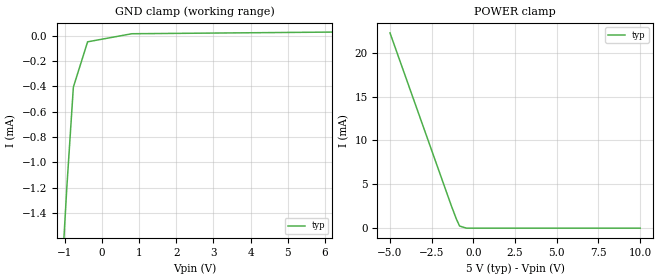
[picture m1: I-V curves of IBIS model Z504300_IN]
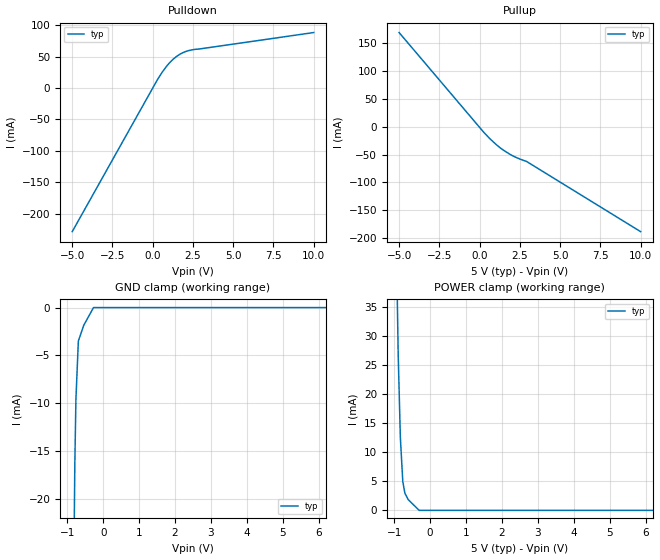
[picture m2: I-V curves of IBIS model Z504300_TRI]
| YOU ARE ONLY AUTHORIZED TO USE THIS SOFTWARE
| ACCORDING TO LICENSOR'S LICENSE RESTRICTIONS.
[IBIS Ver] 3.1
[File Name] mc54hct573aj.ibs
[File Rev] 2.0
[Source] Measured and created by ICX Technology
[Date] Friday 7/14/00 9:08:11 AM
[Copyright]
| (C) COPYRIGHT 1993-2000
| MENTOR GRAPHICS CORPORATION
| ICX STANDARD LIBRARY, ICX PROJECT MODELING,
| ICX CUSTOM MODELING, ICX VENDOR MODEL
| ALL RIGHTS RESERVED.
| THE FOLLOWING ARE TRADEMARKS OR SERVICE MARKS OF
| MENTOR GRAPHICS CORPORATION:ICX (R), ICX STANDARD
| LIBRARY(R), ICX PROJECT MODELING(R), ICX CUSTOM
| MODELING(R), qualityIBIS(TM), MODELVIEWER(TM),
| AND MODELEDITOR(TM)
| ALL COPIES OF SOFTWARE, INCLUDING BUT NOT LIMITED TO
| ANY MODIFICATIONS, ENHANCEMENTS OR DERIVATIVE WORKS,
| MUST CONTAIN ALL MENTOR GRAPHICS CORPORATION'S
| NOTICES AND LEGENDS, INCLUDING THOSE EMBEDDED IN
| SOFTWARE AND THOSE AFFIXED TO SOFTWARE MEDIUM
| AND CONTAINER, AS RECEIVED FROM MENTOR GRAPHICS
| CORPORATION.
|  ZAP Model Builder 2.7
[Component] MC54HCT573AJ
[Manufacturer] OnSemiconductor
[Package]
| variable   typ   min   max
R_pkg  .216ohms NA NA
L_pkg  5.76nH NA NA
C_pkg  2.193pF NA NA
[Pin] signal_name  model_name  R_pin  L_pin C_pin
1 _EN Z504300_IN .232 9.76n 3.179p
2 D0 Z504300_IN .224 7.26n 2.686p
3 D1 Z504300_IN .216 5.26n 2.193p
4 D2 Z504300_IN .208 3.76n 1.7p
5 D3 Z504300_IN .2 2.76n 1.207p
6 D4 Z504300_IN .2 2.76n 1.207p
7 D5 Z504300_IN .208 3.76n 1.7p
8 D6 Z504300_IN .216 5.26n 2.193p
9 D7 Z504300_IN .224 7.26n 2.686p
10 GND GND .232 9.76n 3.179p
11 CLK Z504300_IN .232 9.76n 3.179p
12 Q7 Z504300_TRI .224 7.26n 2.686p
13 Q6 Z504300_TRI .216 5.26n 2.193p
14 Q5 Z504300_TRI .208 3.76n 1.7p
15 Q4 Z504300_TRI .2 2.76n 1.207p
16 Q3 Z504300_TRI .2 2.76n 1.207p
17 Q2 Z504300_TRI .208 3.76n 1.7p
18 Q1 Z504300_TRI .216 5.26n 2.193p
19 Q0 Z504300_TRI .224 7.26n 2.686p
20 VCC POWER .232 9.76n 3.179p
| Models and submodels in the file (2): Z504300_IN (Input), Z504300_TRI (3-state)
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| (C) COPYRIGHT 1993-2000
| MENTOR GRAPHICS CORPORATION
| ICX STANDARD LIBRARY, ICX PROJECT MODELING,
| ICX CUSTOM MODELING, ICX VENDOR MODEL
| ALL RIGHTS RESERVED.
| THE FOLLOWING ARE TRADEMARKS OR SERVICE MARKS OF
| MENTOR GRAPHICS CORPORATION:ICX (R), ICX STANDARD
| LIBRARY(R), ICX PROJECT MODELING(R), ICX CUSTOM
| MODELING(R), qualityIBIS(TM), MODELVIEWER(TM),
| AND MODELEDITOR(TM)
| ALL COPIES OF SOFTWARE, INCLUDING BUT NOT LIMITED TO
| ANY MODIFICATIONS, ENHANCEMENTS OR DERIVATIVE WORKS,
| MUST CONTAIN ALL MENTOR GRAPHICS CORPORATION'S
| NOTICES AND LEGENDS, INCLUDING THOSE EMBEDDED IN
| SOFTWARE AND THOSE AFFIXED TO SOFTWARE MEDIUM
| AND CONTAINER, AS RECEIVED FROM MENTOR GRAPHICS
| CORPORATION.
| Model Application Version 1.89 2/18/99.
[Model] Z504300_IN
Model_type Input
Vinl = 800.0mV
Vinh = 2.000V
C_comp 4.000pF NA NA
| variable typ   min   max
[Voltage Range] 5.000V NA NA
[GND Clamp Reference] 0.000V NA NA
[POWER Clamp Reference] 5.000V NA NA
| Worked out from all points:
|   GND clamp passes 1 mA (typ) near -0.90 V on its own axis
|   POWER clamp passes 1 mA (typ) near -1.01 V on its own axis
[GND Clamp]
-5V       -22.76mA   NA         NA
-1.294V   -2.999mA   NA         NA
-937.4mV  -1.182mA   NA         NA
-765.5mV  -407.1uA   NA         NA
-382.8mV  -48.67uA   NA         NA
806.4mV   15.09uA    NA         NA
10V       37.5uA     NA         NA
[POWER Clamp]
-5V       22.25mA    NA         NA
-1.32V    2.54mA     NA         NA
-1.02V    1.039mA    NA         NA
-828mV    240.9uA    NA         NA
-414mV    0A         NA         NA
10V       0A         NA         NA
| (C) COPYRIGHT 1993-2000
| MENTOR GRAPHICS CORPORATION
| ICX STANDARD LIBRARY, ICX PROJECT MODELING,
| ICX CUSTOM MODELING, ICX VENDOR MODEL
| ALL RIGHTS RESERVED.
| THE FOLLOWING ARE TRADEMARKS OR SERVICE MARKS OF
| MENTOR GRAPHICS CORPORATION:ICX (R), ICX STANDARD
| LIBRARY(R), ICX PROJECT MODELING(R), ICX CUSTOM
| MODELING(R), qualityIBIS(TM), MODELVIEWER(TM),
| AND MODELEDITOR(TM)
| ALL COPIES OF SOFTWARE, INCLUDING BUT NOT LIMITED TO
| ANY MODIFICATIONS, ENHANCEMENTS OR DERIVATIVE WORKS,
| MUST CONTAIN ALL MENTOR GRAPHICS CORPORATION'S
| NOTICES AND LEGENDS, INCLUDING THOSE EMBEDDED IN
| SOFTWARE AND THOSE AFFIXED TO SOFTWARE MEDIUM
| AND CONTAINER, AS RECEIVED FROM MENTOR GRAPHICS
| CORPORATION.
| Model Application Version 1.89 2/18/99.
[Model] Z504300_TRI
Model_type 3-state
Vref=0.000V
Rref=500.0Mohms
Cref=50.00pF
Vmeas=1.300V
C_comp 8.000pF NA NA
| variable typ   min   max
[Voltage Range] 5.000V NA NA
[POWER Clamp Reference] 5.000V NA NA
[Pullup Reference] 5.000V NA NA
[Pulldown Reference] 0.000V NA NA
[GND Clamp Reference] 0.000V NA NA
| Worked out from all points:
|   slope of the pulldown table from 0 to 0.75 V, typ, clamps not added: 24.3 ohm
|   slope of the pullup table from 0 to 0.75 V, typ, clamps not added: 32.1 ohm
[GND Clamp]
-5V       -1.644A    NA         NA
-791mV    -16.28mA   NA         NA
-760.8mV  -9.566mA   NA         NA
-692.9mV  -3.49mA    NA         NA
-541.5mV  -1.841mA   NA         NA
-270.7mV  0A         NA         NA
10V       0A         NA         NA
[Pulldown]
-5V       -228.7mA   NA         NA
293mV     13.31mA    NA         NA
904.1mV   36.04mA    NA         NA
1.274V    45.94mA    NA         NA
1.724V    54.28mA    NA         NA
2.397V    60.52mA    NA         NA
10V       88.27mA    NA         NA
[Pullup]
-5V       169.5mA    NA         NA
254mV     -9.699mA   NA         NA
1.064V    -32.77mA   NA         NA
1.885V    -49.45mA   NA         NA
2.909V    -62.14mA   NA         NA
10V       -188.5mA   NA         NA
[POWER Clamp]
-5V       1.598A     NA         NA
-889mV    26.84mA    NA         NA
-829mV    12.59mA    NA         NA
-761mV    4.971mA    NA         NA
-703mV    2.96mA     NA         NA
-610mV    1.853mA    NA         NA
-305mV    0A         NA         NA
10V       0A         NA         NA
[Ramp]
| variable typ min max
dV/dt_r 2.850/1.165n NA NA
dV/dt_f 2.850/1.095n NA NA
R_load = 500.0Ohms
